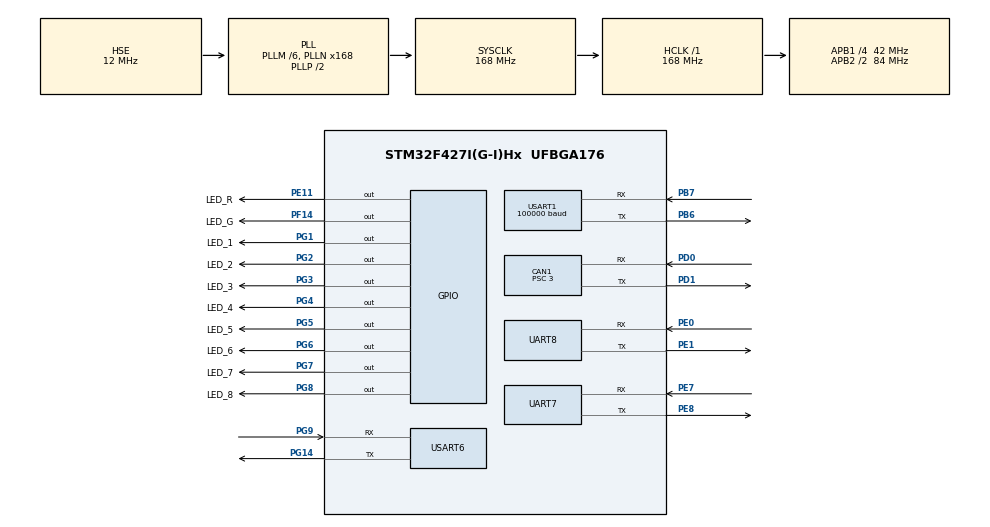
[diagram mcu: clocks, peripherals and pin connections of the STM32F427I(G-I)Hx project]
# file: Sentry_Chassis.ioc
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CAN1.BS1=CAN_BS1_10TQ
CAN1.BS2=CAN_BS2_3TQ
CAN1.CalculateBaudRate=1000000
CAN1.CalculateTimeBit=1000
CAN1.CalculateTimeQuantum=71.42857142857143
CAN1.Prescaler=3
Dma.Request0=USART6_RX
Dma.Request1=USART6_TX
Dma.Request2=UART7_RX
Dma.Request3=UART7_TX
Dma.Request4=UART8_RX
Dma.Request5=UART8_TX
Dma.Request6=USART1_RX
Dma.UART7_RX.2.Direction=DMA_PERIPH_TO_MEMORY
Dma.UART7_RX.2.FIFOMode=DMA_FIFOMODE_DISABLE
Dma.UART7_RX.2.Instance=DMA1_Stream3
Dma.UART7_RX.2.MemDataAlignment=DMA_MDATAALIGN_BYTE
Dma.UART7_RX.2.MemInc=DMA_MINC_ENABLE
Dma.UART7_RX.2.Mode=DMA_CIRCULAR
Dma.UART7_RX.2.PeriphDataAlignment=DMA_PDATAALIGN_BYTE
Dma.UART7_RX.2.PeriphInc=DMA_PINC_DISABLE
Dma.UART7_RX.2.Priority=DMA_PRIORITY_LOW
Dma.UART7_TX.3.Direction=DMA_MEMORY_TO_PERIPH
Dma.UART7_TX.3.FIFOMode=DMA_FIFOMODE_DISABLE
Dma.UART7_TX.3.Instance=DMA1_Stream1
Dma.UART7_TX.3.MemDataAlignment=DMA_MDATAALIGN_BYTE
Dma.UART7_TX.3.MemInc=DMA_MINC_ENABLE
Dma.UART7_TX.3.Mode=DMA_CIRCULAR
Dma.UART7_TX.3.PeriphDataAlignment=DMA_PDATAALIGN_BYTE
Dma.UART7_TX.3.PeriphInc=DMA_PINC_DISABLE
Dma.UART7_TX.3.Priority=DMA_PRIORITY_LOW
Dma.UART8_RX.4.Direction=DMA_PERIPH_TO_MEMORY
Dma.UART8_RX.4.FIFOMode=DMA_FIFOMODE_DISABLE
Dma.UART8_RX.4.Instance=DMA1_Stream6
Dma.UART8_RX.4.MemDataAlignment=DMA_MDATAALIGN_BYTE
Dma.UART8_RX.4.MemInc=DMA_MINC_ENABLE
Dma.UART8_RX.4.Mode=DMA_CIRCULAR
Dma.UART8_RX.4.PeriphDataAlignment=DMA_PDATAALIGN_BYTE
Dma.UART8_RX.4.PeriphInc=DMA_PINC_DISABLE
Dma.UART8_RX.4.Priority=DMA_PRIORITY_LOW
Dma.UART8_TX.5.Direction=DMA_MEMORY_TO_PERIPH
Dma.UART8_TX.5.FIFOMode=DMA_FIFOMODE_DISABLE
Dma.UART8_TX.5.Instance=DMA1_Stream0
Dma.UART8_TX.5.MemDataAlignment=DMA_MDATAALIGN_BYTE
Dma.UART8_TX.5.MemInc=DMA_MINC_ENABLE
Dma.UART8_TX.5.Mode=DMA_CIRCULAR
Dma.UART8_TX.5.PeriphDataAlignment=DMA_PDATAALIGN_BYTE
Dma.UART8_TX.5.PeriphInc=DMA_PINC_DISABLE
Dma.UART8_TX.5.Priority=DMA_PRIORITY_LOW
Dma.USART1_RX.6.Direction=DMA_PERIPH_TO_MEMORY
Dma.USART1_RX.6.FIFOMode=DMA_FIFOMODE_DISABLE
Dma.USART1_RX.6.Instance=DMA2_Stream2
Dma.USART1_RX.6.MemDataAlignment=DMA_MDATAALIGN_BYTE
Dma.USART1_RX.6.MemInc=DMA_MINC_ENABLE
Dma.USART1_RX.6.Mode=DMA_CIRCULAR
Dma.USART1_RX.6.PeriphDataAlignment=DMA_PDATAALIGN_BYTE
Dma.USART1_RX.6.PeriphInc=DMA_PINC_DISABLE
Dma.USART1_RX.6.Priority=DMA_PRIORITY_LOW
Dma.USART6_RX.0.Direction=DMA_PERIPH_TO_MEMORY
Dma.USART6_RX.0.FIFOMode=DMA_FIFOMODE_DISABLE
Dma.USART6_RX.0.Instance=DMA2_Stream1
Dma.USART6_RX.0.MemDataAlignment=DMA_MDATAALIGN_BYTE
Dma.USART6_RX.0.MemInc=DMA_MINC_ENABLE
Dma.USART6_RX.0.Mode=DMA_CIRCULAR
Dma.USART6_RX.0.PeriphDataAlignment=DMA_PDATAALIGN_BYTE
Dma.USART6_RX.0.PeriphInc=DMA_PINC_DISABLE
Dma.USART6_RX.0.Priority=DMA_PRIORITY_HIGH
Dma.USART6_TX.1.Direction=DMA_MEMORY_TO_PERIPH
Dma.USART6_TX.1.FIFOMode=DMA_FIFOMODE_DISABLE
Dma.USART6_TX.1.Instance=DMA2_Stream6
Dma.USART6_TX.1.MemDataAlignment=DMA_MDATAALIGN_BYTE
Dma.USART6_TX.1.MemInc=DMA_MINC_ENABLE
Dma.USART6_TX.1.Mode=DMA_CIRCULAR
Dma.USART6_TX.1.PeriphDataAlignment=DMA_PDATAALIGN_BYTE
Dma.USART6_TX.1.PeriphInc=DMA_PINC_DISABLE
Dma.USART6_TX.1.Priority=DMA_PRIORITY_MEDIUM
FREERTOS.Tasks01=defaultTask,0,128,StartDefaultTask,Default,NULL,Dynamic,NULL,NULL
Mcu.Family=STM32F4
Mcu.Name=STM32F427I(G-I)Hx
Mcu.Package=UFBGA176
NVIC.CAN1_RX0_IRQn=true\:5\:0\:false\:false\:true\:true\:true\:true\:true
NVIC.DMA1_Stream0_IRQn=true\:5\:0\:false\:false\:true\:true\:false\:true\:true
NVIC.DMA1_Stream1_IRQn=true\:5\:0\:false\:false\:true\:true\:false\:true\:true
NVIC.DMA1_Stream3_IRQn=true\:5\:0\:false\:false\:true\:true\:false\:true\:true
NVIC.DMA1_Stream6_IRQn=true\:5\:0\:false\:false\:true\:true\:false\:true\:true
NVIC.DMA2_Stream1_IRQn=true\:5\:0\:false\:false\:true\:true\:false\:true\:true
NVIC.DMA2_Stream2_IRQn=true\:5\:0\:false\:false\:true\:true\:false\:true\:true
NVIC.DMA2_Stream6_IRQn=true\:5\:0\:false\:false\:true\:true\:false\:true\:true
NVIC.PriorityGroup=NVIC_PRIORITYGROUP_4
NVIC.UART7_IRQn=true\:5\:0\:false\:false\:true\:true\:true\:true\:true
NVIC.UART8_IRQn=true\:5\:0\:false\:false\:true\:true\:true\:true\:true
NVIC.USART1_IRQn=true\:5\:0\:false\:false\:true\:true\:true\:true\:true
NVIC.USART6_IRQn=true\:5\:0\:false\:false\:true\:true\:true\:true\:true
PA13.Mode=Serial_Wire
PA13.Signal=SYS_JTMS-SWDIO
PA14.Mode=Serial_Wire
PA14.Signal=SYS_JTCK-SWCLK
PB6.GPIO_PuPd=GPIO_PULLUP
PB6.Mode=Asynchronous
PB6.Signal=USART1_TX
PB7.GPIO_PuPd=GPIO_PULLUP
PB7.Mode=Asynchronous
PB7.Signal=USART1_RX
PD0.Mode=CAN_Activate
PD0.Signal=CAN1_RX
PD1.Mode=CAN_Activate
PD1.Signal=CAN1_TX
PE0.Mode=Asynchronous
PE0.Signal=UART8_RX
PE1.Mode=Asynchronous
PE1.Signal=UART8_TX
PE11.GPIO_Label=LED_R
PE11.Signal=GPIO_Output
PE7.Mode=Asynchronous
PE7.Signal=UART7_RX
PE8.Mode=Asynchronous
PE8.Signal=UART7_TX
PF14.GPIO_Label=LED_G
PF14.Signal=GPIO_Output
PG1.GPIO_Label=LED_1
PG1.GPIO_PuPd=GPIO_NOPULL
PG1.Signal=GPIO_Output
PG14.Mode=Asynchronous
PG14.Signal=USART6_TX
PG2.GPIO_Label=LED_2
PG2.Signal=GPIO_Output
PG3.GPIO_Label=LED_3
PG3.Signal=GPIO_Output
PG4.GPIO_Label=LED_4
PG4.Signal=GPIO_Output
PG5.GPIO_Label=LED_5
PG5.Signal=GPIO_Output
PG6.GPIO_Label=LED_6
PG6.Signal=GPIO_Output
PG7.GPIO_Label=LED_7
PG7.Signal=GPIO_Output
PG8.GPIO_Label=LED_8
PG8.Signal=GPIO_Output
PG9.Mode=Asynchronous
PG9.Signal=USART6_RX
PH0/OSC_IN.Mode=HSE-External-Oscillator
PH0/OSC_IN.Signal=RCC_OSC_IN
PH1/OSC_OUT.Mode=HSE-External-Oscillator
PH1/OSC_OUT.Signal=RCC_OSC_OUT
ProjectManager.HeapSize=0x200
ProjectManager.StackSize=0x400
ProjectManager.TargetToolchain=MDK-ARM V5.32
RCC.48MHZClocksFreq_Value=84000000
RCC.AHBFreq_Value=168000000
RCC.APB1CLKDivider=RCC_HCLK_DIV4
RCC.APB1Freq_Value=42000000
RCC.APB1TimFreq_Value=84000000
RCC.APB2CLKDivider=RCC_HCLK_DIV2
RCC.APB2Freq_Value=84000000
RCC.APB2TimFreq_Value=168000000
RCC.CortexFreq_Value=168000000
RCC.HCLKFreq_Value=168000000
RCC.HSE_VALUE=12000000
RCC.HSI_VALUE=16000000
RCC.LSE_VALUE=32768
RCC.PLLM=6
RCC.PLLN=168
RCC.PLLSourceVirtual=RCC_PLLSOURCE_HSE
RCC.SYSCLKFreq_VALUE=168000000
RCC.SYSCLKSource=RCC_SYSCLKSOURCE_PLLCLK
RCC.VCOOutputFreq_Value=336000000
UART7.VirtualMode=Asynchronous
UART8.VirtualMode=Asynchronous
USART1.BaudRate=100000
USART1.VirtualMode=VM_ASYNC
USART6.VirtualMode=VM_ASYNC
VP_FREERTOS_VS_CMSIS_V1.Mode=CMSIS_V1
board=custom

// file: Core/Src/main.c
/* USER CODE BEGIN Header */
/**
  ******************************************************************************
  * @file           : main.c
  * @brief          : Main program body
  ******************************************************************************
  * @attention
  *
  * Copyright (c) 2025 STMicroelectronics.
  * All rights reserved.
  *
  * This software is licensed under terms that can be found in the LICENSE file
  * in the root directory of this software component.
  * If no LICENSE file comes with this software, it is provided AS-IS.
  *
  ******************************************************************************
  */
/* USER CODE END Header */
#include "main.h"
#include "cmsis_os.h"
#include "can.h"
#include "dma.h"
#include "usart.h"
#include "gpio.h"

/* USER CODE BEGIN Includes */
#include "CAN_in_motors.h"
#include "bsp_rc.h"
#include "car.h"
#include "communication.h"
/* USER CODE END Includes */

/* USER CODE BEGIN PV */
extern rc_info_t rc;
char buf[200];
int count;
/* USER CODE END PV */

void SystemClock_Config(void);
void MX_FREERTOS_Init(void);

int main(void)
{

  /* MCU Configuration--------------------------------------------------------*/

  /* Reset of all peripherals, Initializes the Flash interface and the Systick. */
  HAL_Init();

  /* Configure the system clock */
  SystemClock_Config();

  /* Initialize all configured peripherals */
  MX_GPIO_Init();
  MX_DMA_Init();
  MX_USART6_UART_Init();
  MX_UART7_Init();
  MX_UART8_Init();
  MX_CAN1_Init();
  MX_USART1_UART_Init();
  /* USER CODE BEGIN 2 */
  HAL_GPIO_WritePin(GPIOG, LED_8_Pin|LED_7_Pin|LED_6_Pin|LED_5_Pin|
  												LED_4_Pin|LED_3_Pin|LED_2_Pin|LED_1_Pin, GPIO_PIN_RESET);
  HAL_Delay(500);
  HAL_GPIO_WritePin(GPIOG, LED_8_Pin|LED_7_Pin|LED_6_Pin|LED_5_Pin|
  												LED_4_Pin|LED_3_Pin|LED_2_Pin|LED_1_Pin, GPIO_PIN_SET);
  dbus_uart_init();
  can_filter_init();
  car_init();
  /* USER CODE END 2 */

  /* Call init function for freertos objects (in freertos.c) */
  MX_FREERTOS_Init();

  /* Start scheduler */
  osKernelStart();

  /* We should never get here as control is now taken by the scheduler */
  /* Infinite loop */
  while (1)
  {

    /* USER CODE BEGIN 3 */
//	  CAN_Control9025IncrementAngle(CAN_9025_M1_ID,200);

  }
  /* USER CODE END 3 */
}

void SystemClock_Config(void)
{
  RCC_OscInitTypeDef RCC_OscInitStruct = {0};
  RCC_ClkInitTypeDef RCC_ClkInitStruct = {0};

  /** Configure the main internal regulator output voltage
  */
  __HAL_RCC_PWR_CLK_ENABLE();
  __HAL_PWR_VOLTAGESCALING_CONFIG(PWR_REGULATOR_VOLTAGE_SCALE1);

  /** Initializes the RCC Oscillators according to the specified parameters
  * in the RCC_OscInitTypeDef structure.
  */
  RCC_OscInitStruct.OscillatorType = RCC_OSCILLATORTYPE_HSE;
  RCC_OscInitStruct.HSEState = RCC_HSE_ON;
  RCC_OscInitStruct.PLL.PLLState = RCC_PLL_ON;
  RCC_OscInitStruct.PLL.PLLSource = RCC_PLLSOURCE_HSE;
  RCC_OscInitStruct.PLL.PLLM = 6;
  RCC_OscInitStruct.PLL.PLLN = 168;
  RCC_OscInitStruct.PLL.PLLP = RCC_PLLP_DIV2;
  RCC_OscInitStruct.PLL.PLLQ = 4;
  if (HAL_RCC_OscConfig(&RCC_OscInitStruct) != HAL_OK)
  {
    Error_Handler();
  }

  /** Initializes the CPU, AHB and APB buses clocks
  */
  RCC_ClkInitStruct.ClockType = RCC_CLOCKTYPE_HCLK|RCC_CLOCKTYPE_SYSCLK
                              |RCC_CLOCKTYPE_PCLK1|RCC_CLOCKTYPE_PCLK2;
  RCC_ClkInitStruct.SYSCLKSource = RCC_SYSCLKSOURCE_PLLCLK;
  RCC_ClkInitStruct.AHBCLKDivider = RCC_SYSCLK_DIV1;
  RCC_ClkInitStruct.APB1CLKDivider = RCC_HCLK_DIV4;
  RCC_ClkInitStruct.APB2CLKDivider = RCC_HCLK_DIV2;

  if (HAL_RCC_ClockConfig(&RCC_ClkInitStruct, FLASH_LATENCY_5) != HAL_OK)
  {
    Error_Handler();
  }
}

void Error_Handler(void)
{
  __disable_irq();
  while (1)
  {
  }
}

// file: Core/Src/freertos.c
/* USER CODE BEGIN Header */
/**
  ******************************************************************************
  * File Name          : freertos.c
  * Description        : Code for freertos applications
  ******************************************************************************
  * @attention
  *
  * Copyright (c) 2025 STMicroelectronics.
  * All rights reserved.
  *
  * This software is licensed under terms that can be found in the LICENSE file
  * in the root directory of this software component.
  * If no LICENSE file comes with this software, it is provided AS-IS.
  *
  ******************************************************************************
  */
/* USER CODE END Header */

#include "FreeRTOS.h"
#include "task.h"
#include "main.h"
#include "cmsis_os.h"

/* USER CODE BEGIN Includes */
#include "chassis_control.h"
#include "chassis_task.h"
#include "gimbal_task.h"
#include "car_state_task.h"
#include "communication.h"
#include "communication_tasks.h"
/* USER CODE END Includes */

/* USER CODE BEGIN Variables */
osThreadId commuTaskHandle;
osThreadId chassisTaskHandle;
osThreadId gimbalTaskHandle;
osThreadId carStateTaskHandle;
/* USER CODE END Variables */
osThreadId defaultTaskHandle;

void StartDefaultTask(void const * argument);

void MX_FREERTOS_Init(void); /* (MISRA C 2004 rule 8.1) */

/* GetIdleTaskMemory prototype (linked to static allocation support) */
void vApplicationGetIdleTaskMemory( StaticTask_t **ppxIdleTaskTCBBuffer, StackType_t **ppxIdleTaskStackBuffer, uint32_t *pulIdleTaskStackSize );

/* USER CODE BEGIN GET_IDLE_TASK_MEMORY */
static StaticTask_t xIdleTaskTCBBuffer;
static StackType_t xIdleStack[configMINIMAL_STACK_SIZE];

void vApplicationGetIdleTaskMemory( StaticTask_t **ppxIdleTaskTCBBuffer, StackType_t **ppxIdleTaskStackBuffer, uint32_t *pulIdleTaskStackSize )
{
  *ppxIdleTaskTCBBuffer = &xIdleTaskTCBBuffer;
  *ppxIdleTaskStackBuffer = &xIdleStack[0];
  *pulIdleTaskStackSize = configMINIMAL_STACK_SIZE;
  /* place for user code */
}
/* USER CODE END GET_IDLE_TASK_MEMORY */

void MX_FREERTOS_Init(void) {

  /* Create the thread(s) */
  /* definition and creation of defaultTask */
  osThreadDef(defaultTask, StartDefaultTask, osPriorityNormal, 0, 128);
  defaultTaskHandle = osThreadCreate(osThread(defaultTask), NULL);

  /* USER CODE BEGIN RTOS_THREADS */
  /* add threads, ... */
	osThreadDef(chassisTask, StartChassisTask, osPriorityNormal, 0, 256);
	chassisTaskHandle = osThreadCreate(osThread(chassisTask), NULL);

	osThreadDef(gimbalTask, StartGimbalTask, osPriorityNormal, 0, 128);
	gimbalTaskHandle = osThreadCreate(osThread(gimbalTask), NULL);

	osThreadDef(carStateTask, StartCarStateTask, osPriorityNormal, 0, 128);
	carStateTaskHandle = osThreadCreate(osThread(carStateTask), NULL);

	osThreadDef(commuTask, StartCommunicationTask, osPriorityNormal, 0, 256);
	commuTaskHandle = osThreadCreate(osThread(commuTask), NULL);
  /* USER CODE END RTOS_THREADS */

}

void StartDefaultTask(void const * argument)
{
  for(;;)
  {
    osDelay(1);
  }
}
